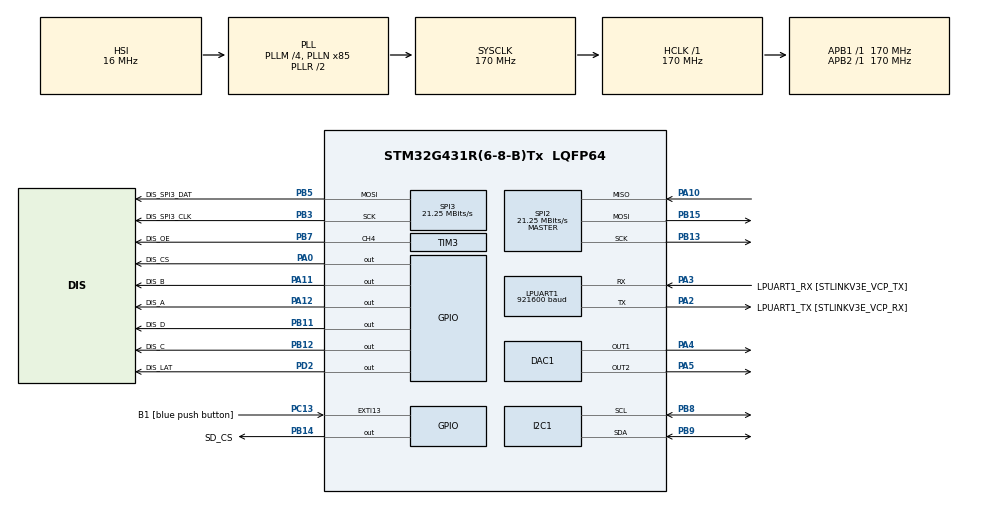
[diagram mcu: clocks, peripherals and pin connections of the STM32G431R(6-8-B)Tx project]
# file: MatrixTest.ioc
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DAC1.DAC_Channel-DAC_OUT2=DAC_CHANNEL_2
DAC1.DAC_SignedFormat-DAC_OUT1=ENABLE
DAC1.DAC_SignedFormat-DAC_OUT2=ENABLE
DAC1.DAC_Trigger_OUT1-DAC_OUT1=DAC_TRIGGER_T6_TRGO
DAC1.DAC_Trigger_OUT2-DAC_OUT2=DAC_TRIGGER_T6_TRGO
Dma.DAC1_CH1.0.Direction=DMA_MEMORY_TO_PERIPH
Dma.DAC1_CH1.0.EventEnable=DISABLE
Dma.DAC1_CH1.0.Instance=DMA1_Channel1
Dma.DAC1_CH1.0.MemDataAlignment=DMA_MDATAALIGN_WORD
Dma.DAC1_CH1.0.MemInc=DMA_MINC_ENABLE
Dma.DAC1_CH1.0.Mode=DMA_NORMAL
Dma.DAC1_CH1.0.PeriphDataAlignment=DMA_PDATAALIGN_WORD
Dma.DAC1_CH1.0.PeriphInc=DMA_PINC_DISABLE
Dma.DAC1_CH1.0.Polarity=HAL_DMAMUX_REQ_GEN_RISING
Dma.DAC1_CH1.0.Priority=DMA_PRIORITY_LOW
Dma.DAC1_CH1.0.RequestNumber=1
Dma.DAC1_CH1.0.SignalID=NONE
Dma.DAC1_CH1.0.SyncEnable=DISABLE
Dma.DAC1_CH1.0.SyncPolarity=HAL_DMAMUX_SYNC_NO_EVENT
Dma.DAC1_CH1.0.SyncRequestNumber=1
Dma.DAC1_CH1.0.SyncSignalID=NONE
Dma.I2C1_TX.1.Direction=DMA_MEMORY_TO_PERIPH
Dma.I2C1_TX.1.EventEnable=DISABLE
Dma.I2C1_TX.1.Instance=DMA1_Channel2
Dma.I2C1_TX.1.MemDataAlignment=DMA_MDATAALIGN_BYTE
Dma.I2C1_TX.1.MemInc=DMA_MINC_ENABLE
Dma.I2C1_TX.1.Mode=DMA_NORMAL
Dma.I2C1_TX.1.PeriphDataAlignment=DMA_PDATAALIGN_BYTE
Dma.I2C1_TX.1.PeriphInc=DMA_PINC_DISABLE
Dma.I2C1_TX.1.Polarity=HAL_DMAMUX_REQ_GEN_RISING
Dma.I2C1_TX.1.Priority=DMA_PRIORITY_LOW
Dma.I2C1_TX.1.RequestNumber=1
Dma.I2C1_TX.1.SignalID=NONE
Dma.I2C1_TX.1.SyncEnable=DISABLE
Dma.I2C1_TX.1.SyncPolarity=HAL_DMAMUX_SYNC_NO_EVENT
Dma.I2C1_TX.1.SyncRequestNumber=1
Dma.I2C1_TX.1.SyncSignalID=NONE
Dma.LPUART1_TX.2.Direction=DMA_MEMORY_TO_PERIPH
Dma.LPUART1_TX.2.EventEnable=DISABLE
Dma.LPUART1_TX.2.Instance=DMA1_Channel3
Dma.LPUART1_TX.2.MemDataAlignment=DMA_MDATAALIGN_BYTE
Dma.LPUART1_TX.2.MemInc=DMA_MINC_ENABLE
Dma.LPUART1_TX.2.Mode=DMA_NORMAL
Dma.LPUART1_TX.2.PeriphDataAlignment=DMA_PDATAALIGN_BYTE
Dma.LPUART1_TX.2.PeriphInc=DMA_PINC_DISABLE
Dma.LPUART1_TX.2.Polarity=HAL_DMAMUX_REQ_GEN_RISING
Dma.LPUART1_TX.2.Priority=DMA_PRIORITY_LOW
Dma.LPUART1_TX.2.RequestNumber=1
Dma.LPUART1_TX.2.SignalID=NONE
Dma.LPUART1_TX.2.SyncEnable=DISABLE
Dma.LPUART1_TX.2.SyncPolarity=HAL_DMAMUX_SYNC_NO_EVENT
Dma.LPUART1_TX.2.SyncRequestNumber=1
Dma.LPUART1_TX.2.SyncSignalID=NONE
Dma.Request0=DAC1_CH1
Dma.Request1=I2C1_TX
Dma.Request2=LPUART1_TX
Dma.Request3=SPI3_TX
Dma.SPI3_TX.3.Direction=DMA_MEMORY_TO_PERIPH
Dma.SPI3_TX.3.EventEnable=DISABLE
Dma.SPI3_TX.3.Instance=DMA2_Channel1
Dma.SPI3_TX.3.MemDataAlignment=DMA_MDATAALIGN_HALFWORD
Dma.SPI3_TX.3.MemInc=DMA_MINC_ENABLE
Dma.SPI3_TX.3.Mode=DMA_NORMAL
Dma.SPI3_TX.3.PeriphDataAlignment=DMA_PDATAALIGN_HALFWORD
Dma.SPI3_TX.3.PeriphInc=DMA_PINC_DISABLE
Dma.SPI3_TX.3.Polarity=HAL_DMAMUX_REQ_GEN_RISING
Dma.SPI3_TX.3.Priority=DMA_PRIORITY_LOW
Dma.SPI3_TX.3.RequestNumber=1
Dma.SPI3_TX.3.SignalID=NONE
Dma.SPI3_TX.3.SyncEnable=DISABLE
Dma.SPI3_TX.3.SyncPolarity=HAL_DMAMUX_SYNC_NO_EVENT
Dma.SPI3_TX.3.SyncRequestNumber=1
Dma.SPI3_TX.3.SyncSignalID=NONE
FATFS._FS_RPATH=1
FATFS._MAX_SS=1024
FATFS._USE_LFN=1
I2C1.Timing=0x30A0A7FB
LPUART1.BaudRate=921600
LPUART1.WordLength=UART_WORDLENGTH_8B
Mcu.Family=STM32G4
Mcu.Name=STM32G431R(6-8-B)Tx
Mcu.Package=LQFP64
NVIC.DMA1_Channel1_IRQn=true\:0\:0\:false\:false\:true\:false\:true
NVIC.DMA1_Channel2_IRQn=true\:0\:0\:false\:false\:true\:false\:true
NVIC.DMA1_Channel3_IRQn=true\:0\:0\:false\:false\:true\:false\:true
NVIC.DMA2_Channel1_IRQn=true\:0\:0\:false\:false\:true\:false\:true
NVIC.EXTI15_10_IRQn=true\:0\:0\:false\:false\:true\:true\:true
NVIC.I2C1_EV_IRQn=true\:0\:0\:true\:false\:true\:true\:true
NVIC.LPUART1_IRQn=true\:0\:0\:false\:false\:true\:true\:true
NVIC.PriorityGroup=NVIC_PRIORITYGROUP_4
NVIC.RNG_IRQn=true\:0\:0\:false\:false\:true\:true\:true
NVIC.RTC_WKUP_IRQn=true\:0\:0\:true\:false\:true\:true\:true
NVIC.TIM3_IRQn=true\:0\:0\:false\:false\:true\:true\:true
PA0.GPIO_Label=DIS_CS
PA0.Signal=GPIO_Output
PA10.GPIO_Speed=GPIO_SPEED_FREQ_VERY_HIGH
PA10.Mode=Full_Duplex_Master
PA10.Signal=SPI2_MISO
PA11.GPIO_Label=DIS_B
PA11.Signal=GPIO_Output
PA12.GPIO_Label=DIS_A
PA12.Signal=GPIO_Output
PA13.GPIO_Label=T_SWDIO
PA13.Mode=Serial_Wire
PA13.Signal=SYS_JTMS-SWDIO
PA14.GPIO_Label=T_SWCLK
PA14.Mode=Serial_Wire
PA14.Signal=SYS_JTCK-SWCLK
PA2.GPIO_Label=LPUART1_TX [STLINKV3E_VCP_RX]
PA2.GPIO_Speed=GPIO_SPEED_FREQ_HIGH
PA2.Mode=Asynchronous
PA2.Signal=LPUART1_TX
PA3.GPIO_Label=LPUART1_RX [STLINKV3E_VCP_TX]
PA3.GPIO_Speed=GPIO_SPEED_FREQ_HIGH
PA3.Mode=Asynchronous
PA3.Signal=LPUART1_RX
PA4.Signal=COMP_DAC11_group
PA5.Signal=COMP_DAC12_group
PB11.GPIO_Label=DIS_D
PB11.Signal=GPIO_Output
PB12.GPIO_Label=DIS_C
PB12.Signal=GPIO_Output
PB13.GPIO_Speed=GPIO_SPEED_FREQ_VERY_HIGH
PB13.Mode=Full_Duplex_Master
PB13.Signal=SPI2_SCK
PB14.GPIO_Label=SD_CS
PB14.Signal=GPIO_Output
PB15.GPIO_Speed=GPIO_SPEED_FREQ_VERY_HIGH
PB15.Mode=Full_Duplex_Master
PB15.Signal=SPI2_MOSI
PB3.GPIO_Label=DIS_SPI3_CLK
PB3.GPIO_Speed=GPIO_SPEED_FREQ_VERY_HIGH
PB3.Mode=TX_Only_Simplex_Unidirect_Master
PB3.Signal=SPI3_SCK
PB5.GPIO_Label=DIS_SPI3_DAT
PB5.GPIO_Speed=GPIO_SPEED_FREQ_VERY_HIGH
PB5.Mode=TX_Only_Simplex_Unidirect_Master
PB5.Signal=SPI3_MOSI
PB7.GPIO_Label=DIS_OE
PB7.GPIO_PuPd=GPIO_NOPULL
PB7.Signal=S_TIM3_CH4
PB8-BOOT0.Mode=I2C
PB8-BOOT0.Signal=I2C1_SCL
PB9.Mode=I2C
PB9.Signal=I2C1_SDA
PC13.GPIO_Label=B1 [blue push button]
PC13.Signal=GPXTI13
PC14-OSC32_IN.Mode=LSE-External-Oscillator
PC14-OSC32_IN.Signal=RCC_OSC32_IN
PC15-OSC32_OUT.Mode=LSE-External-Oscillator
PC15-OSC32_OUT.Signal=RCC_OSC32_OUT
PD2.GPIO_Label=DIS_LAT
PD2.Signal=GPIO_Output
PF0-OSC_IN.Signal=RCC_OSC_IN
PF1-OSC_OUT.Signal=RCC_OSC_OUT
ProjectManager.HeapSize=0x200
ProjectManager.StackSize=0x400
ProjectManager.TargetToolchain=Makefile
RCC.ADC12Freq_Value=170000000
RCC.AHBFreq_Value=170000000
RCC.APB1Freq_Value=170000000
RCC.APB1TimFreq_Value=170000000
RCC.APB2Freq_Value=170000000
RCC.APB2TimFreq_Value=170000000
RCC.CK48CLockSelection=RCC_USBCLKSOURCE_HSI48
RCC.CortexFreq_Value=170000000
RCC.EXTERNAL_CLOCK_VALUE=12288000
RCC.HCLKFreq_Value=170000000
RCC.HSE_VALUE=24000000
RCC.HSI48_VALUE=48000000
RCC.HSI_VALUE=16000000
RCC.PLLM=RCC_PLLM_DIV4
RCC.PLLN=85
RCC.RTCClockSelection=RCC_RTCCLKSOURCE_LSE
RCC.SYSCLKFreq_VALUE=170000000
RCC.SYSCLKSource=RCC_SYSCLKSOURCE_PLLCLK
RCC.USBFreq_Value=48000000
RCC.VCOOutputFreq_Value=340000000
RTC.Date=15
RTC.Hours=14
RTC.Minutes=21
RTC.Month=RTC_MONTH_JULY
RTC.Seconds=12
RTC.WakeUpClock-WakeUp=RTC_WAKEUPCLOCK_CK_SPRE_16BITS
RTC.Year=21
SH.COMP_DAC11_group.0=DAC1_OUT1,DAC_OUT1
SH.COMP_DAC12_group.0=DAC1_OUT2,DAC_OUT2
SH.S_TIM3_CH4.0=TIM3_CH4,PWM Generation4 CH4
SPI2.BaudRatePrescaler=SPI_BAUDRATEPRESCALER_8
SPI2.CalculateBaudRate=21.25 MBits/s
SPI2.DataSize=SPI_DATASIZE_8BIT
SPI2.Direction=SPI_DIRECTION_2LINES
SPI2.Mode=SPI_MODE_MASTER
SPI2.NSSPMode=SPI_NSS_PULSE_DISABLE
SPI2.VirtualType=VM_MASTER
SPI3.BaudRatePrescaler=SPI_BAUDRATEPRESCALER_8
SPI3.CalculateBaudRate=21.25 MBits/s
SPI3.DataSize=SPI_DATASIZE_8BIT
SPI3.Direction=SPI_DIRECTION_2LINES
SPI3.FirstBit=SPI_FIRSTBIT_MSB
SPI3.Mode=SPI_MODE_MASTER
SPI3.NSSPMode=SPI_NSS_PULSE_DISABLE
SPI3.VirtualType=VM_MASTER
TIM3.Channel-PWM\ Generation4\ CH4=TIM_CHANNEL_4
TIM3.CounterMode=TIM_COUNTERMODE_DOWN
TIM3.OCPolarity_4=TIM_OCPOLARITY_LOW
TIM3.PeriodNoDither=255
TIM3.Prescaler=42
TIM6.TIM_MasterOutputTrigger=TIM_TRGO_UPDATE
VP_CRC_VS_CRC.Mode=CRC_Activate
VP_FATFS_VS_Generic.Mode=User_defined
VP_RNG_VS_RNG.Mode=RNG_Activate
VP_RTC_VS_RTC_Activate.Mode=RTC_Enabled
VP_RTC_VS_RTC_Calendar.Mode=RTC_Calendar
VP_RTC_VS_RTC_WakeUp_intern.Mode=WakeUp
VP_SYS_VS_DBSignals.Mode=DisableDeadBatterySignals
VP_TIM6_VS_ClockSourceINT.Mode=Enable_Timer
board=NUCLEO-G431RB

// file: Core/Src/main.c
/* USER CODE BEGIN Header */
/**
  ******************************************************************************
  * @file           : main.c
  * @brief          : Main program body
  ******************************************************************************
  * @attention
  *
  * <h2><center>&copy; Copyright (c) 2021 STMicroelectronics.
  * All rights reserved.</center></h2>
  *
  * This software component is licensed by ST under BSD 3-Clause license,
  * the "License"; You may not use this file except in compliance with the
  * License. You may obtain a copy of the License at:
  *                        opensource.org/licenses/BSD-3-Clause
  *
  ******************************************************************************
  */
/* USER CODE END Header */
#include "main.h"
#include "app_fatfs.h"

/* USER CODE BEGIN Includes */
#include "ssd1306.h"
#include "fonts.h"
#include "fatfs_sd.h"
#include "printf.h"
#include "player.h"
#include "matrix.h"

/* USER CODE END Includes */

/* USER CODE BEGIN PD */

#if 1	//PWM on OE
#define DIS_OE_ON(_val)	(__HAL_TIM_SET_COMPARE(&htim3, TIM_CHANNEL_4, _val))
#define DIS_OE_OFF()	(__HAL_TIM_SET_COMPARE(&htim3, TIM_CHANNEL_4, 0))

#else
#define DIS_OE_ON(_val)	(HAL_GPIO_WritePin(DIS_OE_GPIO_Port, DIS_OE_Pin, GPIO_PIN_RESET))
#define DIS_OE_OFF()	(HAL_GPIO_WritePin(DIS_OE_GPIO_Port, DIS_OE_Pin, GPIO_PIN_SET))
#endif

#define DIS_BRIGHTNESS(_val)	(__HAL_TIM_SET_COMPARE(&htim3, TIM_CHANNEL_3, _val))	//not yet

/* USER CODE END PD */

CRC_HandleTypeDef hcrc;

DAC_HandleTypeDef hdac1;
DMA_HandleTypeDef hdma_dac1_ch1;

I2C_HandleTypeDef hi2c1;
DMA_HandleTypeDef hdma_i2c1_tx;

UART_HandleTypeDef hlpuart1;
DMA_HandleTypeDef hdma_lpuart1_tx;

RNG_HandleTypeDef hrng;

RTC_HandleTypeDef hrtc;

SPI_HandleTypeDef hspi2;
SPI_HandleTypeDef hspi3;
DMA_HandleTypeDef hdma_spi3_tx;

TIM_HandleTypeDef htim3;
TIM_HandleTypeDef htim6;

/* USER CODE BEGIN PV */
SSD1306_COLOR lcdColor = White;
uint8_t timerFlag = 1;
FATFS FatFs;
static volatile uint8_t playerGo = 0;

uint8_t spiTxBuff[8][16][48] = {0};//R1|R2|G1|G2|B1|B2

const uint8_t dispScaleVal[8] = {128, 64, 32, 16, 8, 4, 2, 1};
//const uint8_t dispScaleVal[8] = {64, 32, 16, 8, 4, 2, 1, 1};
volatile uint8_t dispScalePos = 0;
volatile uint8_t dispRow = 0;
volatile uint8_t dispBrightness = 10;

volatile uint32_t rndValue = 0;

/* USER CODE END PV */

void SystemClock_Config(void);
static void MX_GPIO_Init(void);
static void MX_DMA_Init(void);
static void MX_LPUART1_UART_Init(void);
static void MX_DAC1_Init(void);
static void MX_I2C1_Init(void);
static void MX_TIM6_Init(void);
static void MX_RTC_Init(void);
static void MX_CRC_Init(void);
static void MX_SPI2_Init(void);
static void MX_SPI3_Init(void);
static void MX_RNG_Init(void);
static void MX_TIM3_Init(void);
/* USER CODE BEGIN PFP */
void SetRowPin(void);

/* USER CODE END PFP */

/* USER CODE BEGIN 0 */

void _putchar(char character)
{
  // send char to console etc.
  uint8_t s[2] = { 0 };
  s[0] = character;
  HAL_UART_Transmit(&hlpuart1, s, 1, 1);
}

/* USER CODE END 0 */

int main(void)
{
  /* USER CODE BEGIN 1 */
  uint32_t count = 0;
  char tmpBuf[64] = {0};
  RTC_TimeTypeDef timeOfRtc = {0};
  RTC_DateTypeDef dayOfRtc = {0};

  /* USER CODE END 1 */

  /* MCU Configuration--------------------------------------------------------*/

  /* Reset of all peripherals, Initializes the Flash interface and the Systick. */
  HAL_Init();

  /* Configure the system clock */
  SystemClock_Config();

  /* Initialize all configured peripherals */
  MX_GPIO_Init();
  MX_DMA_Init();
  MX_LPUART1_UART_Init();
  MX_DAC1_Init();
  MX_I2C1_Init();
  MX_TIM6_Init();
  if (MX_FATFS_Init() != APP_OK) {
    Error_Handler();
  }
  MX_RTC_Init();
  MX_CRC_Init();
  MX_SPI2_Init();
  MX_SPI3_Init();
  MX_RNG_Init();
  MX_TIM3_Init();
  /* USER CODE BEGIN 2 */

  ssd1306_Init();
  HAL_Delay(50);
  ssd1306_Fill(Black);

  ssd1306_SetCursor(8,8);
  ssd1306_WriteString("Init...",Font_11x18,White);
  ssd1306_UpdateScreen();
  HAL_Delay(200);

  HAL_RTCEx_DeactivateWakeUpTimer(&hrtc);
  HAL_RTCEx_SetWakeUpTimer_IT(&hrtc, 0, RTC_WAKEUPCLOCK_CK_SPRE_16BITS);

	FRESULT rc = f_mount(&FatFs, "", 0);
	if (rc != FR_OK)
	{
		return rc;
	}
	PlayerInit(&htim6, &hdac1);

	//PlayerStart("Afire.MP3");
	//PlayerStart("Take my breath away.mp3");
	//PlayerStart("lmoyzly.mp3");

	//__HAL_TIM_SET_COMPARE(&htim2, TIM_CHANNEL_1, 50);
	//MatrixDispTypeDef hDisp;
	//hDisp.pOETimer = &htim3;
	//hDisp.channelOE = TIM_CHANNEL_2;
	//MatrixInit(&hDisp);

	//HAL_GPIO_WritePin(DIS_CS_GPIO_Port, DIS_CS_Pin, GPIO_PIN_RESET);
	//HAL_TIM_PWM_Start(&htim3, TIM_CHANNEL_3);	//CS
	HAL_TIM_PWM_Start(&htim3, TIM_CHANNEL_4);	//OE
	DIS_OE_ON(dispScaleVal[dispScalePos]);

	//DIS_BRIGHTNESS(dispBrightness);

	//matrix refresh timer
	HAL_TIM_Base_Start_IT(&htim3);
	//HAL_TIM_Base_Start_IT(&htim16);

	uint32_t start = HAL_GetTick();
	//MatrixDrawBMP("CHROME.bmp", 0, 0);
	//MatrixDrawBMP("CHROME.bmp", 32, 0);
	MatrixDrawBMP("HUB.bmp", 0, 0);
	printf("Draw bmp in TF card: %lu ms.\r\n", HAL_GetTick() - start);
	HAL_Delay(2000);
	MatrixClear();
	HAL_Delay(1000);
	start = HAL_GetTick();
	MatrixDrawImage();
	printf("Draw internal image cost: %lu ms.\r\n", HAL_GetTick() - start);
	HAL_Delay(2000);
	MatrixClear();
	//printf("Clear cost: %lu ms.\r\n", HAL_GetTick() - start);

  /* USER CODE END 2 */

  /* Infinite loop */
  while (1)
  {

    /* USER CODE BEGIN 3 */
    //HAL_GPIO_TogglePin(LD2_GPIO_Port, LD2_Pin);

    if (timerFlag != 0)
    {
		timerFlag = 0;
		count++;
		if (count % 60 == 0)
		{
			if (lcdColor == Black)
			{
				lcdColor = White;
				ssd1306_Fill(Black);
			}
			else
			{
				lcdColor = Black;
				ssd1306_Fill(White);
			}
		}
		HAL_RTC_GetTime(&hrtc, &timeOfRtc, RTC_FORMAT_BIN);
		HAL_RTC_GetDate(&hrtc, &dayOfRtc, RTC_FORMAT_BIN);

		ssd1306_SetCursor(0,8);
		sprintf(tmpBuf, "%02d:%02d:%02d", timeOfRtc.Hours, timeOfRtc.Minutes, timeOfRtc.Seconds);
		ssd1306_WriteString(tmpBuf,Font_11x18,lcdColor);
		ssd1306_UpdateScreen();

		RGB_t dot0 = {0,0,0};
		//if (timeOfRtc.Seconds < 20)
		{
			dot0.R = 1;
			dot0.G = 0;
			dot0.B = 0;
			MatrixWriteString(tmpBuf, Font_7x10, 4, 0, dot0);
		}
		//else if (timeOfRtc.Seconds < 40)
		{
			dot0.R = 0;
			dot0.G = 1;
			dot0.B = 0;
			MatrixWriteString(tmpBuf, Font_7x10, 4, 10, dot0);
		}
		//else
		{
			dot0.R = 0;
			dot0.G = 0;
			dot0.B = 1;
			MatrixWriteString(tmpBuf, Font_7x10, 4, 20, dot0);
		}

		//MatrixSetDirection(timeOfRtc.Seconds > 30 ? 1 : 0);
		//MatrixClear();
		//MatrixWriteString(tmpBuf, Font_7x10, 4, 10, dot0);
		if (/*timeOfRtc.Hours == 12 && */timeOfRtc.Minutes == 0 && timeOfRtc.Seconds == 0)
		{
			PlayerStart("Westminster Chime.mp3");
		}
		else if (/*timeOfRtc.Hours == 12 && */timeOfRtc.Minutes%10 == 0 && timeOfRtc.Seconds == 0)
		{
			PlayerStart("Secret Chime.mp3");
		}
	}
	if (playerGo == 2)
	{
		playerGo = 0;
		PlayerStart("Take my breath away.mp3");
	}
	PlayerUpdate();
  }

  /* USER CODE END 3 */
}

void SystemClock_Config(void)
{
  RCC_OscInitTypeDef RCC_OscInitStruct = {0};
  RCC_ClkInitTypeDef RCC_ClkInitStruct = {0};
  RCC_PeriphCLKInitTypeDef PeriphClkInit = {0};

  /** Configure the main internal regulator output voltage
  */
  HAL_PWREx_ControlVoltageScaling(PWR_REGULATOR_VOLTAGE_SCALE1_BOOST);
  /** Configure LSE Drive Capability
  */
  HAL_PWR_EnableBkUpAccess();
  __HAL_RCC_LSEDRIVE_CONFIG(RCC_LSEDRIVE_LOW);
  /** Initializes the RCC Oscillators according to the specified parameters
  * in the RCC_OscInitTypeDef structure.
  */
  RCC_OscInitStruct.OscillatorType = RCC_OSCILLATORTYPE_HSI|RCC_OSCILLATORTYPE_HSI48
                              |RCC_OSCILLATORTYPE_LSE;
  RCC_OscInitStruct.LSEState = RCC_LSE_ON;
  RCC_OscInitStruct.HSIState = RCC_HSI_ON;
  RCC_OscInitStruct.HSICalibrationValue = RCC_HSICALIBRATION_DEFAULT;
  RCC_OscInitStruct.HSI48State = RCC_HSI48_ON;
  RCC_OscInitStruct.PLL.PLLState = RCC_PLL_ON;
  RCC_OscInitStruct.PLL.PLLSource = RCC_PLLSOURCE_HSI;
  RCC_OscInitStruct.PLL.PLLM = RCC_PLLM_DIV4;
  RCC_OscInitStruct.PLL.PLLN = 85;
  RCC_OscInitStruct.PLL.PLLP = RCC_PLLP_DIV2;
  RCC_OscInitStruct.PLL.PLLQ = RCC_PLLQ_DIV2;
  RCC_OscInitStruct.PLL.PLLR = RCC_PLLR_DIV2;
  if (HAL_RCC_OscConfig(&RCC_OscInitStruct) != HAL_OK)
  {
    Error_Handler();
  }
  /** Initializes the CPU, AHB and APB buses clocks
  */
  RCC_ClkInitStruct.ClockType = RCC_CLOCKTYPE_HCLK|RCC_CLOCKTYPE_SYSCLK
                              |RCC_CLOCKTYPE_PCLK1|RCC_CLOCKTYPE_PCLK2;
  RCC_ClkInitStruct.SYSCLKSource = RCC_SYSCLKSOURCE_PLLCLK;
  RCC_ClkInitStruct.AHBCLKDivider = RCC_SYSCLK_DIV1;
  RCC_ClkInitStruct.APB1CLKDivider = RCC_HCLK_DIV1;
  RCC_ClkInitStruct.APB2CLKDivider = RCC_HCLK_DIV1;

  if (HAL_RCC_ClockConfig(&RCC_ClkInitStruct, FLASH_LATENCY_4) != HAL_OK)
  {
    Error_Handler();
  }
  /** Initializes the peripherals clocks
  */
  PeriphClkInit.PeriphClockSelection = RCC_PERIPHCLK_RTC|RCC_PERIPHCLK_LPUART1
                              |RCC_PERIPHCLK_I2C1|RCC_PERIPHCLK_RNG;
  PeriphClkInit.Lpuart1ClockSelection = RCC_LPUART1CLKSOURCE_PCLK1;
  PeriphClkInit.I2c1ClockSelection = RCC_I2C1CLKSOURCE_PCLK1;
  PeriphClkInit.RngClockSelection = RCC_RNGCLKSOURCE_HSI48;
  PeriphClkInit.RTCClockSelection = RCC_RTCCLKSOURCE_LSE;

  if (HAL_RCCEx_PeriphCLKConfig(&PeriphClkInit) != HAL_OK)
  {
    Error_Handler();
  }
}

static void MX_CRC_Init(void)
{

  hcrc.Instance = CRC;
  hcrc.Init.DefaultPolynomialUse = DEFAULT_POLYNOMIAL_ENABLE;
  hcrc.Init.DefaultInitValueUse = DEFAULT_INIT_VALUE_ENABLE;
  hcrc.Init.InputDataInversionMode = CRC_INPUTDATA_INVERSION_NONE;
  hcrc.Init.OutputDataInversionMode = CRC_OUTPUTDATA_INVERSION_DISABLE;
  hcrc.InputDataFormat = CRC_INPUTDATA_FORMAT_BYTES;
  if (HAL_CRC_Init(&hcrc) != HAL_OK)
  {
    Error_Handler();
  }

}

static void MX_DAC1_Init(void)
{

  DAC_ChannelConfTypeDef sConfig = {0};

  /** DAC Initialization
  */
  hdac1.Instance = DAC1;
  if (HAL_DAC_Init(&hdac1) != HAL_OK)
  {
    Error_Handler();
  }
  /** DAC channel OUT1 config
  */
  sConfig.DAC_HighFrequency = DAC_HIGH_FREQUENCY_INTERFACE_MODE_AUTOMATIC;
  sConfig.DAC_DMADoubleDataMode = DISABLE;
  sConfig.DAC_SignedFormat = ENABLE;
  sConfig.DAC_SampleAndHold = DAC_SAMPLEANDHOLD_DISABLE;
  sConfig.DAC_Trigger = DAC_TRIGGER_T6_TRGO;
  sConfig.DAC_Trigger2 = DAC_TRIGGER_NONE;
  sConfig.DAC_OutputBuffer = DAC_OUTPUTBUFFER_ENABLE;
  sConfig.DAC_ConnectOnChipPeripheral = DAC_CHIPCONNECT_EXTERNAL;
  sConfig.DAC_UserTrimming = DAC_TRIMMING_FACTORY;
  if (HAL_DAC_ConfigChannel(&hdac1, &sConfig, DAC_CHANNEL_1) != HAL_OK)
  {
    Error_Handler();
  }
  /** DAC channel OUT2 config
  */
  if (HAL_DAC_ConfigChannel(&hdac1, &sConfig, DAC_CHANNEL_2) != HAL_OK)
  {
    Error_Handler();
  }

}

static void MX_I2C1_Init(void)
{

  hi2c1.Instance = I2C1;
  hi2c1.Init.Timing = 0x30A0A7FB;
  hi2c1.Init.OwnAddress1 = 0;
  hi2c1.Init.AddressingMode = I2C_ADDRESSINGMODE_7BIT;
  hi2c1.Init.DualAddressMode = I2C_DUALADDRESS_DISABLE;
  hi2c1.Init.OwnAddress2 = 0;
  hi2c1.Init.OwnAddress2Masks = I2C_OA2_NOMASK;
  hi2c1.Init.GeneralCallMode = I2C_GENERALCALL_DISABLE;
  hi2c1.Init.NoStretchMode = I2C_NOSTRETCH_DISABLE;
  if (HAL_I2C_Init(&hi2c1) != HAL_OK)
  {
    Error_Handler();
  }
  /** Configure Analogue filter
  */
  if (HAL_I2CEx_ConfigAnalogFilter(&hi2c1, I2C_ANALOGFILTER_ENABLE) != HAL_OK)
  {
    Error_Handler();
  }
  /** Configure Digital filter
  */
  if (HAL_I2CEx_ConfigDigitalFilter(&hi2c1, 0) != HAL_OK)
  {
    Error_Handler();
  }

}

static void MX_LPUART1_UART_Init(void)
{

  hlpuart1.Instance = LPUART1;
  hlpuart1.Init.BaudRate = 921600;
  hlpuart1.Init.WordLength = UART_WORDLENGTH_8B;
  hlpuart1.Init.StopBits = UART_STOPBITS_1;
  hlpuart1.Init.Parity = UART_PARITY_NONE;
  hlpuart1.Init.Mode = UART_MODE_TX_RX;
  hlpuart1.Init.HwFlowCtl = UART_HWCONTROL_NONE;
  hlpuart1.Init.OneBitSampling = UART_ONE_BIT_SAMPLE_DISABLE;
  hlpuart1.Init.ClockPrescaler = UART_PRESCALER_DIV1;
  hlpuart1.AdvancedInit.AdvFeatureInit = UART_ADVFEATURE_NO_INIT;
  if (HAL_UART_Init(&hlpuart1) != HAL_OK)
  {
    Error_Handler();
  }
  if (HAL_UARTEx_SetTxFifoThreshold(&hlpuart1, UART_TXFIFO_THRESHOLD_1_8) != HAL_OK)
  {
    Error_Handler();
  }
  if (HAL_UARTEx_SetRxFifoThreshold(&hlpuart1, UART_RXFIFO_THRESHOLD_1_8) != HAL_OK)
  {
    Error_Handler();
  }
  if (HAL_UARTEx_DisableFifoMode(&hlpuart1) != HAL_OK)
  {
    Error_Handler();
  }

}

static void MX_RNG_Init(void)
{

  hrng.Instance = RNG;
  hrng.Init.ClockErrorDetection = RNG_CED_ENABLE;
  if (HAL_RNG_Init(&hrng) != HAL_OK)
  {
    Error_Handler();
  }

}

static void MX_RTC_Init(void)
{

  RTC_TimeTypeDef sTime = {0};
  RTC_DateTypeDef sDate = {0};

  /** Initialize RTC Only
  */
  hrtc.Instance = RTC;
  hrtc.Init.HourFormat = RTC_HOURFORMAT_24;
  hrtc.Init.AsynchPrediv = 127;
  hrtc.Init.SynchPrediv = 255;
  hrtc.Init.OutPut = RTC_OUTPUT_DISABLE;
  hrtc.Init.OutPutRemap = RTC_OUTPUT_REMAP_NONE;
  hrtc.Init.OutPutPolarity = RTC_OUTPUT_POLARITY_HIGH;
  hrtc.Init.OutPutType = RTC_OUTPUT_TYPE_OPENDRAIN;
  hrtc.Init.OutPutPullUp = RTC_OUTPUT_PULLUP_NONE;
  if (HAL_RTC_Init(&hrtc) != HAL_OK)
  {
    Error_Handler();
  }

  /* USER CODE BEGIN Check_RTC_BKUP */
  if (HAL_RTCEx_BKUPRead(&hrtc, 0) == 0xfc)
  {
    goto exit;
  }

  HAL_RTCEx_BKUPWrite(&hrtc, 0, 0xfc);

  /* USER CODE END Check_RTC_BKUP */

  /** Initialize RTC and set the Time and Date
  */
  sTime.Hours = 0x14;
  sTime.Minutes = 0x21;
  sTime.Seconds = 0x12;
  sTime.SubSeconds = 0x0;
  sTime.DayLightSaving = RTC_DAYLIGHTSAVING_NONE;
  sTime.StoreOperation = RTC_STOREOPERATION_RESET;
  if (HAL_RTC_SetTime(&hrtc, &sTime, RTC_FORMAT_BCD) != HAL_OK)
  {
    Error_Handler();
  }
  sDate.WeekDay = RTC_WEEKDAY_MONDAY;
  sDate.Month = RTC_MONTH_JULY;
  sDate.Date = 0x15;
  sDate.Year = 0x21;

  if (HAL_RTC_SetDate(&hrtc, &sDate, RTC_FORMAT_BCD) != HAL_OK)
  {
    Error_Handler();
  }
  /** Enable the WakeUp
  */
  if (HAL_RTCEx_SetWakeUpTimer_IT(&hrtc, 0, RTC_WAKEUPCLOCK_CK_SPRE_16BITS) != HAL_OK)
  {
    Error_Handler();
  }
  /* USER CODE BEGIN RTC_Init 2 */
  exit:;
  /* USER CODE END RTC_Init 2 */

}

static void MX_SPI2_Init(void)
{

  /* SPI2 parameter configuration*/
  hspi2.Instance = SPI2;
  hspi2.Init.Mode = SPI_MODE_MASTER;
  hspi2.Init.Direction = SPI_DIRECTION_2LINES;
  hspi2.Init.DataSize = SPI_DATASIZE_8BIT;
  hspi2.Init.CLKPolarity = SPI_POLARITY_LOW;
  hspi2.Init.CLKPhase = SPI_PHASE_1EDGE;
  hspi2.Init.NSS = SPI_NSS_SOFT;
  hspi2.Init.BaudRatePrescaler = SPI_BAUDRATEPRESCALER_8;
  hspi2.Init.FirstBit = SPI_FIRSTBIT_MSB;
  hspi2.Init.TIMode = SPI_TIMODE_DISABLE;
  hspi2.Init.CRCCalculation = SPI_CRCCALCULATION_DISABLE;
  hspi2.Init.CRCPolynomial = 7;
  hspi2.Init.CRCLength = SPI_CRC_LENGTH_DATASIZE;
  hspi2.Init.NSSPMode = SPI_NSS_PULSE_DISABLE;
  if (HAL_SPI_Init(&hspi2) != HAL_OK)
  {
    Error_Handler();
  }

}

static void MX_SPI3_Init(void)
{

  /* SPI3 parameter configuration*/
  hspi3.Instance = SPI3;
  hspi3.Init.Mode = SPI_MODE_MASTER;
  hspi3.Init.Direction = SPI_DIRECTION_2LINES;
  hspi3.Init.DataSize = SPI_DATASIZE_8BIT;
  hspi3.Init.CLKPolarity = SPI_POLARITY_LOW;
  hspi3.Init.CLKPhase = SPI_PHASE_1EDGE;
  hspi3.Init.NSS = SPI_NSS_SOFT;
  hspi3.Init.BaudRatePrescaler = SPI_BAUDRATEPRESCALER_8;
  hspi3.Init.FirstBit = SPI_FIRSTBIT_MSB;
  hspi3.Init.TIMode = SPI_TIMODE_DISABLE;
  hspi3.Init.CRCCalculation = SPI_CRCCALCULATION_DISABLE;
  hspi3.Init.CRCPolynomial = 7;
  hspi3.Init.CRCLength = SPI_CRC_LENGTH_DATASIZE;
  hspi3.Init.NSSPMode = SPI_NSS_PULSE_DISABLE;
  if (HAL_SPI_Init(&hspi3) != HAL_OK)
  {
    Error_Handler();
  }

}

static void MX_TIM3_Init(void)
{

  TIM_MasterConfigTypeDef sMasterConfig = {0};
  TIM_OC_InitTypeDef sConfigOC = {0};

  htim3.Instance = TIM3;
  htim3.Init.Prescaler = 42;
  htim3.Init.CounterMode = TIM_COUNTERMODE_DOWN;
  htim3.Init.Period = 255;
  htim3.Init.ClockDivision = TIM_CLOCKDIVISION_DIV1;
  htim3.Init.AutoReloadPreload = TIM_AUTORELOAD_PRELOAD_DISABLE;
  if (HAL_TIM_PWM_Init(&htim3) != HAL_OK)
  {
    Error_Handler();
  }
  sMasterConfig.MasterOutputTrigger = TIM_TRGO_RESET;
  sMasterConfig.MasterSlaveMode = TIM_MASTERSLAVEMODE_DISABLE;
  if (HAL_TIMEx_MasterConfigSynchronization(&htim3, &sMasterConfig) != HAL_OK)
  {
    Error_Handler();
  }
  sConfigOC.OCMode = TIM_OCMODE_PWM1;
  sConfigOC.Pulse = 0;
  sConfigOC.OCPolarity = TIM_OCPOLARITY_LOW;
  sConfigOC.OCFastMode = TIM_OCFAST_DISABLE;
  if (HAL_TIM_PWM_ConfigChannel(&htim3, &sConfigOC, TIM_CHANNEL_4) != HAL_OK)
  {
    Error_Handler();
  }
  HAL_TIM_MspPostInit(&htim3);

}

static void MX_TIM6_Init(void)
{

  TIM_MasterConfigTypeDef sMasterConfig = {0};

  htim6.Instance = TIM6;
  htim6.Init.Prescaler = 0;
  htim6.Init.CounterMode = TIM_COUNTERMODE_UP;
  htim6.Init.Period = 65535;
  htim6.Init.AutoReloadPreload = TIM_AUTORELOAD_PRELOAD_DISABLE;
  if (HAL_TIM_Base_Init(&htim6) != HAL_OK)
  {
    Error_Handler();
  }
  sMasterConfig.MasterOutputTrigger = TIM_TRGO_UPDATE;
  sMasterConfig.MasterSlaveMode = TIM_MASTERSLAVEMODE_DISABLE;
  if (HAL_TIMEx_MasterConfigSynchronization(&htim6, &sMasterConfig) != HAL_OK)
  {
    Error_Handler();
  }

}

static void MX_DMA_Init(void)
{

  /* DMA controller clock enable */
  __HAL_RCC_DMAMUX1_CLK_ENABLE();
  __HAL_RCC_DMA1_CLK_ENABLE();
  __HAL_RCC_DMA2_CLK_ENABLE();

  /* DMA interrupt init */
  /* DMA1_Channel1_IRQn interrupt configuration */
  HAL_NVIC_SetPriority(DMA1_Channel1_IRQn, 0, 0);
  HAL_NVIC_EnableIRQ(DMA1_Channel1_IRQn);
  /* DMA1_Channel2_IRQn interrupt configuration */
  HAL_NVIC_SetPriority(DMA1_Channel2_IRQn, 0, 0);
  HAL_NVIC_EnableIRQ(DMA1_Channel2_IRQn);
  /* DMA1_Channel3_IRQn interrupt configuration */
  HAL_NVIC_SetPriority(DMA1_Channel3_IRQn, 0, 0);
  HAL_NVIC_EnableIRQ(DMA1_Channel3_IRQn);
  /* DMA2_Channel1_IRQn interrupt configuration */
  HAL_NVIC_SetPriority(DMA2_Channel1_IRQn, 0, 0);
  HAL_NVIC_EnableIRQ(DMA2_Channel1_IRQn);

}

static void MX_GPIO_Init(void)
{
  GPIO_InitTypeDef GPIO_InitStruct = {0};

  /* GPIO Ports Clock Enable */
  __HAL_RCC_GPIOC_CLK_ENABLE();
  __HAL_RCC_GPIOF_CLK_ENABLE();
  __HAL_RCC_GPIOA_CLK_ENABLE();
  __HAL_RCC_GPIOB_CLK_ENABLE();
  __HAL_RCC_GPIOD_CLK_ENABLE();

  /*Configure GPIO pin Output Level */
  HAL_GPIO_WritePin(GPIOA, DIS_CS_Pin|DIS_B_Pin|DIS_A_Pin, GPIO_PIN_RESET);

  /*Configure GPIO pin Output Level */
  HAL_GPIO_WritePin(GPIOB, DIS_D_Pin|DIS_C_Pin|SD_CS_Pin, GPIO_PIN_RESET);

  /*Configure GPIO pin Output Level */
  HAL_GPIO_WritePin(DIS_LAT_GPIO_Port, DIS_LAT_Pin, GPIO_PIN_RESET);

  /*Configure GPIO pin : B1_Pin */
  GPIO_InitStruct.Pin = B1_Pin;
  GPIO_InitStruct.Mode = GPIO_MODE_IT_RISING;
  GPIO_InitStruct.Pull = GPIO_NOPULL;
  HAL_GPIO_Init(B1_GPIO_Port, &GPIO_InitStruct);

  /*Configure GPIO pins : DIS_CS_Pin DIS_B_Pin DIS_A_Pin */
  GPIO_InitStruct.Pin = DIS_CS_Pin|DIS_B_Pin|DIS_A_Pin;
  GPIO_InitStruct.Mode = GPIO_MODE_OUTPUT_PP;
  GPIO_InitStruct.Pull = GPIO_NOPULL;
  GPIO_InitStruct.Speed = GPIO_SPEED_FREQ_LOW;
  HAL_GPIO_Init(GPIOA, &GPIO_InitStruct);

  /*Configure GPIO pins : DIS_D_Pin DIS_C_Pin SD_CS_Pin */
  GPIO_InitStruct.Pin = DIS_D_Pin|DIS_C_Pin|SD_CS_Pin;
  GPIO_InitStruct.Mode = GPIO_MODE_OUTPUT_PP;
  GPIO_InitStruct.Pull = GPIO_NOPULL;
  GPIO_InitStruct.Speed = GPIO_SPEED_FREQ_LOW;
  HAL_GPIO_Init(GPIOB, &GPIO_InitStruct);

  /*Configure GPIO pin : DIS_LAT_Pin */
  GPIO_InitStruct.Pin = DIS_LAT_Pin;
  GPIO_InitStruct.Mode = GPIO_MODE_OUTPUT_PP;
  GPIO_InitStruct.Pull = GPIO_NOPULL;
  GPIO_InitStruct.Speed = GPIO_SPEED_FREQ_LOW;
  HAL_GPIO_Init(DIS_LAT_GPIO_Port, &GPIO_InitStruct);

  /* EXTI interrupt init*/
  HAL_NVIC_SetPriority(EXTI15_10_IRQn, 0, 0);
  HAL_NVIC_EnableIRQ(EXTI15_10_IRQn);

}

/* USER CODE BEGIN 4 */

/*
void HAL_DAC_ConvCpltCallbackCh1(DAC_HandleTypeDef* hdac)
{
	//plState = PLAYER_STATE_DMA_EMPTY;
	flg_dma_done = 1;
}
*/
void HAL_GPIO_EXTI_Callback(uint16_t GPIO_Pin)
{
  if (GPIO_Pin == B1_Pin)
  {
		PlayerVolumeAdj(-1);
		playerGo = 2;
  }
}

void HAL_RTCEx_WakeUpTimerEventCallback(RTC_HandleTypeDef *hrtc)
{
  timerFlag = 1;
}

void HAL_I2C_MemTxCpltCallback(I2C_HandleTypeDef *hi2c)
{
	if(hi2c->Instance == hi2c1.Instance)
	{
#ifdef SSD1306_USING_DMA
		ssd1306_IntCallBack();
#endif
	}
}

void HAL_SPI_TxHalfCpltCallback(SPI_HandleTypeDef *hspi)
{
	if (hspi->Instance == hspi3.Instance)
	{
		//HAL_GPIO_WritePin(DIS_OE_GPIO_Port, DIS_OE_Pin, GPIO_PIN_SET);
		//HAL_GPIO_WritePin(DIS_LAT_GPIO_Port, DIS_LAT_Pin, GPIO_PIN_RESET);
		HAL_GPIO_WritePin(DIS_CS_GPIO_Port, DIS_CS_Pin, GPIO_PIN_SET);
	}
}

void HAL_SPI_TxCpltCallback(SPI_HandleTypeDef *hspi)
{
	if (hspi->Instance == hspi3.Instance)
	{
		HAL_GPIO_WritePin(DIS_LAT_GPIO_Port, DIS_LAT_Pin, GPIO_PIN_RESET);
		//HAL_GPIO_WritePin(DIS_OE_GPIO_Port, DIS_OE_Pin, GPIO_PIN_SET);
		//HAL_GPIO_WritePin(DIS_CS_GPIO_Port, DIS_CS_Pin, GPIO_PIN_SET);
		SetRowPin();

		HAL_GPIO_WritePin(DIS_LAT_GPIO_Port, DIS_LAT_Pin, GPIO_PIN_SET);

		if (dispRow < 15)
		{
			dispRow++;
		}
		else
		{
			dispRow = 0;
			if (dispScalePos < 7)
			{
				dispScalePos++;
			}
			else
			{
				dispScalePos = 0;
			}
			DIS_OE_ON(dispScaleVal[dispScalePos]);
		}
		HAL_GPIO_WritePin(DIS_CS_GPIO_Port, DIS_CS_Pin, GPIO_PIN_RESET);
	}
}

void HAL_TIM_PeriodElapsedCallback(TIM_HandleTypeDef *htim)
{
	if (htim->Instance == htim3.Instance)
	{
		//HAL_GPIO_WritePin(DIS_CS_GPIO_Port, DIS_CS_Pin, GPIO_PIN_SET);
		//HAL_GPIO_WritePin(DIS_LAT_GPIO_Port, DIS_LAT_Pin, GPIO_PIN_RESET);
		HAL_SPI_Transmit_DMA(&hspi3, (uint8_t *)spiTxBuff[dispScalePos][dispRow], sizeof(spiTxBuff[0][0])/sizeof(spiTxBuff[0][0][0]));
	}
}

void SetRowPin(void)
{
	switch (dispRow)
	{
	case 15:
		HAL_GPIO_WritePin(DIS_A_GPIO_Port, DIS_A_Pin, GPIO_PIN_RESET);
		HAL_GPIO_WritePin(DIS_B_GPIO_Port, DIS_B_Pin, GPIO_PIN_RESET);
		HAL_GPIO_WritePin(DIS_C_GPIO_Port, DIS_C_Pin, GPIO_PIN_RESET);
		HAL_GPIO_WritePin(DIS_D_GPIO_Port, DIS_D_Pin, GPIO_PIN_RESET);
		break;
	case 14:
		HAL_GPIO_WritePin(DIS_A_GPIO_Port, DIS_A_Pin, GPIO_PIN_SET);
		HAL_GPIO_WritePin(DIS_B_GPIO_Port, DIS_B_Pin, GPIO_PIN_RESET);
		HAL_GPIO_WritePin(DIS_C_GPIO_Port, DIS_C_Pin, GPIO_PIN_RESET);
		HAL_GPIO_WritePin(DIS_D_GPIO_Port, DIS_D_Pin, GPIO_PIN_RESET);
		break;
	case 13:
		HAL_GPIO_WritePin(DIS_A_GPIO_Port, DIS_A_Pin, GPIO_PIN_RESET);
		HAL_GPIO_WritePin(DIS_B_GPIO_Port, DIS_B_Pin, GPIO_PIN_SET);
		HAL_GPIO_WritePin(DIS_C_GPIO_Port, DIS_C_Pin, GPIO_PIN_RESET);
		HAL_GPIO_WritePin(DIS_D_GPIO_Port, DIS_D_Pin, GPIO_PIN_RESET);
		break;
	case 12:
		HAL_GPIO_WritePin(DIS_A_GPIO_Port, DIS_A_Pin, GPIO_PIN_SET);
		HAL_GPIO_WritePin(DIS_B_GPIO_Port, DIS_B_Pin, GPIO_PIN_SET);
		HAL_GPIO_WritePin(DIS_C_GPIO_Port, DIS_C_Pin, GPIO_PIN_RESET);
		HAL_GPIO_WritePin(DIS_D_GPIO_Port, DIS_D_Pin, GPIO_PIN_RESET);
		break;
	case 11:
		HAL_GPIO_WritePin(DIS_A_GPIO_Port, DIS_A_Pin, GPIO_PIN_RESET);
		HAL_GPIO_WritePin(DIS_B_GPIO_Port, DIS_B_Pin, GPIO_PIN_RESET);
		HAL_GPIO_WritePin(DIS_C_GPIO_Port, DIS_C_Pin, GPIO_PIN_SET);
		HAL_GPIO_WritePin(DIS_D_GPIO_Port, DIS_D_Pin, GPIO_PIN_RESET);
		break;
	case 10:
		HAL_GPIO_WritePin(DIS_A_GPIO_Port, DIS_A_Pin, GPIO_PIN_SET);
		HAL_GPIO_WritePin(DIS_B_GPIO_Port, DIS_B_Pin, GPIO_PIN_RESET);
		HAL_GPIO_WritePin(DIS_C_GPIO_Port, DIS_C_Pin, GPIO_PIN_SET);
		HAL_GPIO_WritePin(DIS_D_GPIO_Port, DIS_D_Pin, GPIO_PIN_RESET);
		break;
	case 9:
		HAL_GPIO_WritePin(DIS_A_GPIO_Port, DIS_A_Pin, GPIO_PIN_RESET);
		HAL_GPIO_WritePin(DIS_B_GPIO_Port, DIS_B_Pin, GPIO_PIN_SET);
		HAL_GPIO_WritePin(DIS_C_GPIO_Port, DIS_C_Pin, GPIO_PIN_SET);
		HAL_GPIO_WritePin(DIS_D_GPIO_Port, DIS_D_Pin, GPIO_PIN_RESET);
		break;
	case 8:
		HAL_GPIO_WritePin(DIS_A_GPIO_Port, DIS_A_Pin, GPIO_PIN_SET);
		HAL_GPIO_WritePin(DIS_B_GPIO_Port, DIS_B_Pin, GPIO_PIN_SET);
		HAL_GPIO_WritePin(DIS_C_GPIO_Port, DIS_C_Pin, GPIO_PIN_SET);
		HAL_GPIO_WritePin(DIS_D_GPIO_Port, DIS_D_Pin, GPIO_PIN_RESET);
		break;
	case 7:
		HAL_GPIO_WritePin(DIS_A_GPIO_Port, DIS_A_Pin, GPIO_PIN_RESET);
		HAL_GPIO_WritePin(DIS_B_GPIO_Port, DIS_B_Pin, GPIO_PIN_RESET);
		HAL_GPIO_WritePin(DIS_C_GPIO_Port, DIS_C_Pin, GPIO_PIN_RESET);
		HAL_GPIO_WritePin(DIS_D_GPIO_Port, DIS_D_Pin, GPIO_PIN_SET);
		break;
	case 6:
		HAL_GPIO_WritePin(DIS_A_GPIO_Port, DIS_A_Pin, GPIO_PIN_SET);
		HAL_GPIO_WritePin(DIS_B_GPIO_Port, DIS_B_Pin, GPIO_PIN_RESET);
		HAL_GPIO_WritePin(DIS_C_GPIO_Port, DIS_C_Pin, GPIO_PIN_RESET);
		HAL_GPIO_WritePin(DIS_D_GPIO_Port, DIS_D_Pin, GPIO_PIN_SET);
		break;
	case 5:
		HAL_GPIO_WritePin(DIS_A_GPIO_Port, DIS_A_Pin, GPIO_PIN_RESET);
		HAL_GPIO_WritePin(DIS_B_GPIO_Port, DIS_B_Pin, GPIO_PIN_SET);
		HAL_GPIO_WritePin(DIS_C_GPIO_Port, DIS_C_Pin, GPIO_PIN_RESET);
		HAL_GPIO_WritePin(DIS_D_GPIO_Port, DIS_D_Pin, GPIO_PIN_SET);
		break;
	case 4:
		HAL_GPIO_WritePin(DIS_A_GPIO_Port, DIS_A_Pin, GPIO_PIN_SET);
		HAL_GPIO_WritePin(DIS_B_GPIO_Port, DIS_B_Pin, GPIO_PIN_SET);
		HAL_GPIO_WritePin(DIS_C_GPIO_Port, DIS_C_Pin, GPIO_PIN_RESET);
		HAL_GPIO_WritePin(DIS_D_GPIO_Port, DIS_D_Pin, GPIO_PIN_SET);
		break;
	case 3:
		HAL_GPIO_WritePin(DIS_A_GPIO_Port, DIS_A_Pin, GPIO_PIN_RESET);
		HAL_GPIO_WritePin(DIS_B_GPIO_Port, DIS_B_Pin, GPIO_PIN_RESET);
		HAL_GPIO_WritePin(DIS_C_GPIO_Port, DIS_C_Pin, GPIO_PIN_SET);
		HAL_GPIO_WritePin(DIS_D_GPIO_Port, DIS_D_Pin, GPIO_PIN_SET);
		break;
	case 2:
		HAL_GPIO_WritePin(DIS_A_GPIO_Port, DIS_A_Pin, GPIO_PIN_SET);
		HAL_GPIO_WritePin(DIS_B_GPIO_Port, DIS_B_Pin, GPIO_PIN_RESET);
		HAL_GPIO_WritePin(DIS_C_GPIO_Port, DIS_C_Pin, GPIO_PIN_SET);
		HAL_GPIO_WritePin(DIS_D_GPIO_Port, DIS_D_Pin, GPIO_PIN_SET);
		break;
	case 1:
		HAL_GPIO_WritePin(DIS_A_GPIO_Port, DIS_A_Pin, GPIO_PIN_RESET);
		HAL_GPIO_WritePin(DIS_B_GPIO_Port, DIS_B_Pin, GPIO_PIN_SET);
		HAL_GPIO_WritePin(DIS_C_GPIO_Port, DIS_C_Pin, GPIO_PIN_SET);
		HAL_GPIO_WritePin(DIS_D_GPIO_Port, DIS_D_Pin, GPIO_PIN_SET);
		break;
	case 0:
		HAL_GPIO_WritePin(DIS_A_GPIO_Port, DIS_A_Pin, GPIO_PIN_SET);
		HAL_GPIO_WritePin(DIS_B_GPIO_Port, DIS_B_Pin, GPIO_PIN_SET);
		HAL_GPIO_WritePin(DIS_C_GPIO_Port, DIS_C_Pin, GPIO_PIN_SET);
		HAL_GPIO_WritePin(DIS_D_GPIO_Port, DIS_D_Pin, GPIO_PIN_SET);
		break;

	default:
		break;
	}
}

void HAL_RNG_ReadyDataCallback(RNG_HandleTypeDef *hrng, uint32_t random32bit)
{
	rndValue = random32bit;
}

/* USER CODE END 4 */

void Error_Handler(void)
{
  while(1)
  {
  }
}

/************************ (C) COPYRIGHT STMicroelectronics *****END OF FILE****/
